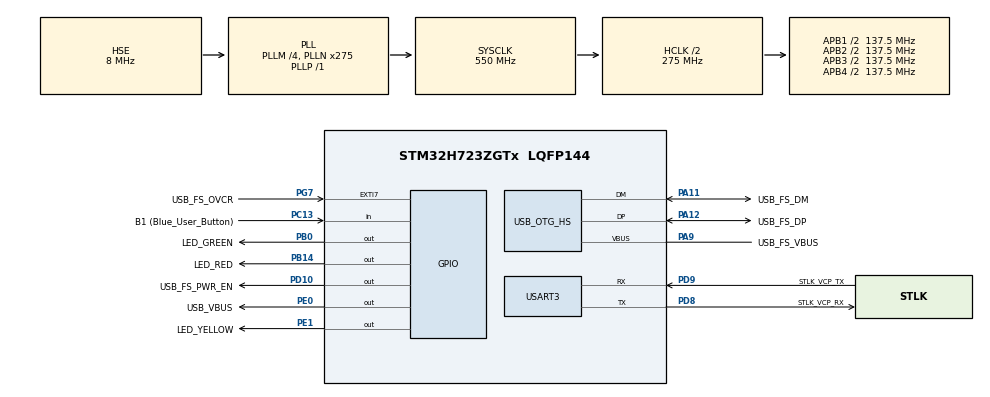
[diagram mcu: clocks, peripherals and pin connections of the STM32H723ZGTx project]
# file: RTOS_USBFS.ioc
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Dma.Request0=USART3_TX
Dma.Request1=USART3_RX
Dma.USART3_RX.1.Direction=DMA_PERIPH_TO_MEMORY
Dma.USART3_RX.1.EventEnable=DISABLE
Dma.USART3_RX.1.FIFOMode=DMA_FIFOMODE_DISABLE
Dma.USART3_RX.1.Instance=DMA1_Stream1
Dma.USART3_RX.1.MemDataAlignment=DMA_MDATAALIGN_BYTE
Dma.USART3_RX.1.MemInc=DMA_MINC_ENABLE
Dma.USART3_RX.1.Mode=DMA_CIRCULAR
Dma.USART3_RX.1.PeriphDataAlignment=DMA_PDATAALIGN_BYTE
Dma.USART3_RX.1.PeriphInc=DMA_PINC_DISABLE
Dma.USART3_RX.1.Polarity=HAL_DMAMUX_REQ_GEN_RISING
Dma.USART3_RX.1.Priority=DMA_PRIORITY_LOW
Dma.USART3_RX.1.RequestNumber=1
Dma.USART3_RX.1.SignalID=NONE
Dma.USART3_RX.1.SyncEnable=DISABLE
Dma.USART3_RX.1.SyncPolarity=HAL_DMAMUX_SYNC_NO_EVENT
Dma.USART3_RX.1.SyncRequestNumber=1
Dma.USART3_RX.1.SyncSignalID=NONE
Dma.USART3_TX.0.Direction=DMA_MEMORY_TO_PERIPH
Dma.USART3_TX.0.EventEnable=DISABLE
Dma.USART3_TX.0.FIFOMode=DMA_FIFOMODE_DISABLE
Dma.USART3_TX.0.Instance=DMA1_Stream0
Dma.USART3_TX.0.MemDataAlignment=DMA_MDATAALIGN_BYTE
Dma.USART3_TX.0.MemInc=DMA_MINC_ENABLE
Dma.USART3_TX.0.Mode=DMA_NORMAL
Dma.USART3_TX.0.PeriphDataAlignment=DMA_PDATAALIGN_BYTE
Dma.USART3_TX.0.PeriphInc=DMA_PINC_DISABLE
Dma.USART3_TX.0.Polarity=HAL_DMAMUX_REQ_GEN_RISING
Dma.USART3_TX.0.Priority=DMA_PRIORITY_LOW
Dma.USART3_TX.0.RequestNumber=1
Dma.USART3_TX.0.SignalID=NONE
Dma.USART3_TX.0.SyncEnable=DISABLE
Dma.USART3_TX.0.SyncPolarity=HAL_DMAMUX_SYNC_NO_EVENT
Dma.USART3_TX.0.SyncRequestNumber=1
Dma.USART3_TX.0.SyncSignalID=NONE
FATFS._FS_EXFAT=1
FATFS._FS_REENTRANT=1
FATFS._FS_RPATH=2
FATFS._MAX_SS=4096
FATFS._USE_LFN=3
FATFS._USE_MUTEX=1
FREERTOS.BinarySemaphores01=BinarySem01,Dynamic,NULL
FREERTOS.INCLUDE_vTaskCleanUpResources=1
FREERTOS.INCLUDE_vTaskDelayUntil=1
FREERTOS.INCLUDE_xTimerPendFunctionCall=1
FREERTOS.Tasks01=defaultTask,0,128,StartDefaultTask,Default,NULL,Dynamic,NULL,NULL;USBFileSystem,0,128,USBFileSystem_Init,Default,NULL,Dynamic,NULL,NULL;CommInterface,0,128,CommInterface_Init,Default,NULL,Dynamic,NULL,NULL
FREERTOS.Timers01=Timer1,Timer1_Callback,osTimerPeriodic,Default,NULL,Dynamic,NULL
FREERTOS.configUSE_NEWLIB_REENTRANT=0
FREERTOS.configUSE_TIMERS=1
Mcu.Family=STM32H7
Mcu.Name=STM32H723ZGTx
Mcu.Package=LQFP144
NVIC.DMA1_Stream0_IRQn=true\:5\:0\:false\:false\:true\:false\:false\:true\:true
NVIC.DMA1_Stream1_IRQn=true\:5\:0\:false\:false\:true\:false\:false\:true\:true
NVIC.OTG_HS_IRQn=true\:5\:0\:false\:false\:true\:false\:false\:true\:true
NVIC.PriorityGroup=NVIC_PRIORITYGROUP_4
NVIC.TIM1_UP_IRQn=true\:15\:0\:false\:false\:true\:false\:false\:true\:true
NVIC.TimeBase=TIM1_UP_IRQn
NVIC.TimeBaseIP=TIM1
NVIC.USART3_IRQn=true\:0\:0\:false\:false\:true\:false\:true\:true\:true
PA1.GPIO_Label=RMII_REF_CLK
PA1.Signal=ETH_REF_CLK
PA10.GPIO_Label=USB_FS_ID
PA10.Signal=USB_OTG_HS_ID
PA11.GPIO_Label=USB_FS_DM
PA11.Mode=Host_FS
PA11.Signal=USB_OTG_HS_DM
PA12.GPIO_Label=USB_FS_DP
PA12.Mode=Host_FS
PA12.Signal=USB_OTG_HS_DP
PA13(JTMS/SWDIO).GPIO_Label=SWDIO
PA13(JTMS/SWDIO).Mode=Trace_Asynchronous_SW
PA13(JTMS/SWDIO).Signal=DEBUG_JTMS-SWDIO
PA14(JTCK/SWCLK).GPIO_Label=SWCLK
PA14(JTCK/SWCLK).Mode=Trace_Asynchronous_SW
PA14(JTCK/SWCLK).Signal=DEBUG_JTCK-SWCLK
PA2.GPIO_Label=RMII_MDIO
PA2.Signal=ETH_MDIO
PA7.GPIO_Label=RMII_CRS_DV
PA7.Signal=ETH_CRS_DV
PA9.GPIO_Label=USB_FS_VBUS
PA9.Mode=Activate_VBUS_FS
PA9.Signal=USB_OTG_HS_VBUS
PB0.GPIO_Label=LED_GREEN
PB0.Signal=GPIO_Output
PB13.GPIO_Label=RMII_TXD1
PB13.Signal=ETH_TXD1
PB14.GPIO_Label=LED_RED
PB14.Signal=GPIO_Output
PB3(JTDO/TRACESWO).GPIO_Label=SWO
PB3(JTDO/TRACESWO).Mode=Trace_Asynchronous_SW
PB3(JTDO/TRACESWO).Signal=DEBUG_JTDO-SWO
PC1.GPIO_Label=RMII_MDC
PC1.Signal=ETH_MDC
PC13.GPIO_Label=B1 (Blue_User_Button)
PC13.Signal=GPIO_Input
PC14-OSC32_IN.Mode=LSE-External-Oscillator
PC14-OSC32_IN.Signal=RCC_OSC32_IN
PC15-OSC32_OUT.Mode=LSE-External-Oscillator
PC15-OSC32_OUT.Signal=RCC_OSC32_OUT
PC4.GPIO_Label=RMII_RXD0
PC4.Signal=ETH_RXD0
PC5.GPIO_Label=RMII_RXD1
PC5.Signal=ETH_RXD1
PD10.GPIO_Label=USB_FS_PWR_EN
PD10.Signal=GPIO_Output
PD8.GPIO_Label=STLK_VCP_RX
PD8.Mode=Asynchronous
PD8.Signal=USART3_TX
PD9.GPIO_Label=STLK_VCP_TX
PD9.Mode=Asynchronous
PD9.Signal=USART3_RX
PE0.GPIO_Label=USB_VBUS
PE0.GPIO_ModeDefaultOutputPP=GPIO_MODE_OUTPUT_PP
PE0.PinState=GPIO_PIN_SET
PE0.Signal=GPIO_Output
PE1.GPIO_Label=LED_YELLOW
PE1.PinState=GPIO_PIN_SET
PE1.Signal=GPIO_Output
PG11.GPIO_Label=RMII_TX_EN
PG11.Signal=ETH_TX_EN
PG13.GPIO_Label=RMII_TXD0
PG13.Signal=ETH_TXD0
PG7.GPIO_Label=USB_FS_OVCR
PG7.Signal=GPXTI7
PH0-OSC_IN.GPIO_Label=MCO
PH0-OSC_IN.Mode=HSE-External-Oscillator
PH0-OSC_IN.Signal=RCC_OSC_IN
PH1-OSC_OUT.Mode=HSE-External-Oscillator
PH1-OSC_OUT.Signal=RCC_OSC_OUT
ProjectManager.HeapSize=0x200
ProjectManager.StackSize=0x400
ProjectManager.TargetToolchain=STM32CubeIDE
RCC.ADCFreq_Value=76000000
RCC.APB1Freq_Value=137500000
RCC.APB2Freq_Value=137500000
RCC.APB3Freq_Value=137500000
RCC.APB4Freq_Value=137500000
RCC.CortexFreq_Value=550000000
RCC.D1PPRE=RCC_APB3_DIV2
RCC.D2PPRE1=RCC_APB1_DIV2
RCC.D2PPRE2=RCC_APB2_DIV2
RCC.D3PPRE=RCC_APB4_DIV2
RCC.DIVM1=4
RCC.DIVM2=1
RCC.DIVN1=275
RCC.DIVN2=19
RCC.DIVP1=1
RCC.DIVQ1=4
RCC.HCLKFreq_Value=275000000
RCC.HPRE=RCC_HCLK_DIV2
RCC.HSE_VALUE=8000000
RCC.PLLFRACN=0
RCC.PLLSourceVirtual=RCC_PLLSOURCE_HSE
RCC.SYSCLKFreq_VALUE=550000000
RCC.SYSCLKSource=RCC_SYSCLKSOURCE_PLLCLK
RCC.USBCLockSelection=RCC_USBCLKSOURCE_HSI48
RCC.USBFreq_Value=48000000
USART3.VirtualMode-Asynchronous=VM_ASYNC
USB_HOST.BSP.number=1
USB_HOST.USBH_HandleTypeDef=hUsbHostHS
USB_HOST.VirtualModeHS=Msc
USB_HOST0.BSP.STBoard=false
USB_HOST0.BSP.api=Unknown
USB_HOST0.BSP.instance=PE0
USB_HOST0.BSP.ip=GPIO
USB_HOST0.BSP.mode=Output
USB_HOST0.BSP.name=Drive_VBUS_HS
USB_HOST0.BSP.solution=PE0
USB_OTG_HS.VirtualMode-Host_FS=Host_FS
VP_FATFS_VS_USB.Mode=USB
VP_FREERTOS_VS_CMSIS_V1.Mode=CMSIS_V1
VP_SYS_VS_tim1.Mode=TIM1
VP_USB_HOST_VS_USB_HOST_MSC_HS.Mode=MSC_HS
board=NUCLEO-H723ZG

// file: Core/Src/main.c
/* USER CODE BEGIN Header */
/**
  ******************************************************************************
  * @file           : main.c
  * @brief          : Main program body
  ******************************************************************************
  * @attention
  *
  * Copyright (c) 2022 STMicroelectronics.
  * All rights reserved.
  *
  * This software is licensed under terms that can be found in the LICENSE file
  * in the root directory of this software component.
  * If no LICENSE file comes with this software, it is provided AS-IS.
  *
  ******************************************************************************
  */
/* USER CODE END Header */
#include "main.h"
#include "cmsis_os.h"
#include "fatfs.h"
#include "usb_host.h"

/* USER CODE BEGIN PD */
#define UART_TX_BUFFER_LENGTH 64
#define UART_RX_BUFFER_LENGTH 64

/* USER CODE END PD */

UART_HandleTypeDef huart3;
DMA_HandleTypeDef hdma_usart3_tx;
DMA_HandleTypeDef hdma_usart3_rx;

osThreadId defaultTaskHandle;
osThreadId USBFileSystemHandle;
osThreadId CommInterfaceHandle;
osTimerId Timer1Handle;
osSemaphoreId BinarySem01Handle;

void SystemClock_Config(void);
static void MX_GPIO_Init(void);
static void MX_USART3_UART_Init(void);
static void MX_DMA_Init(void);
void StartDefaultTask(void const * argument);
void USBFileSystem_Init(void const * argument);
void CommInterface_Init(void const * argument);
void Timer1_Callback(void const * argument);

/* USER CODE BEGIN 0 */

uint8_t UART_TX_BUFFER[UART_TX_BUFFER_LENGTH];
uint8_t UART_RX_BUFFER[UART_RX_BUFFER_LENGTH];

int _write(int file, uint8_t *data, int len)
{

   memcpy(UART_TX_BUFFER, data, len);

   HAL_StatusTypeDef status =
      HAL_UART_Transmit_DMA(&huart3, (uint8_t*)UART_TX_BUFFER, len);

   // return # of bytes written - as best we can tell
   return (status == HAL_OK ? len : 0);
}

/* USER CODE END 0 */

int main(void)
{

  /* MCU Configuration--------------------------------------------------------*/

  /* Reset of all peripherals, Initializes the Flash interface and the Systick. */
  HAL_Init();

  /* Configure the system clock */
  SystemClock_Config();

  /* Initialize all configured peripherals */
  MX_GPIO_Init();
  MX_FATFS_Init();
  MX_DMA_Init();
  MX_USART3_UART_Init();

  /* Create the semaphores(s) */
  /* definition and creation of BinarySem01 */
  osSemaphoreDef(BinarySem01);
  BinarySem01Handle = osSemaphoreCreate(osSemaphore(BinarySem01), 1);

  /* Create the timer(s) */
  /* definition and creation of Timer1 */
  osTimerDef(Timer1, Timer1_Callback);
  Timer1Handle = osTimerCreate(osTimer(Timer1), osTimerPeriodic, NULL);

  /* Create the thread(s) */
  /* definition and creation of defaultTask */
  osThreadDef(defaultTask, StartDefaultTask, osPriorityNormal, 0, 128);
  defaultTaskHandle = osThreadCreate(osThread(defaultTask), NULL);

  /* definition and creation of USBFileSystem */
  osThreadDef(USBFileSystem, USBFileSystem_Init, osPriorityNormal, 0, 128);
  USBFileSystemHandle = osThreadCreate(osThread(USBFileSystem), NULL);

  /* definition and creation of CommInterface */
  osThreadDef(CommInterface, CommInterface_Init, osPriorityNormal, 0, 128);
  CommInterfaceHandle = osThreadCreate(osThread(CommInterface), NULL);

  /* Start scheduler */
  osKernelStart();

  /* We should never get here as control is now taken by the scheduler */
  /* Infinite loop */
  while (1)
  {

  }
}

void SystemClock_Config(void)
{
  RCC_OscInitTypeDef RCC_OscInitStruct = {0};
  RCC_ClkInitTypeDef RCC_ClkInitStruct = {0};

  /** Supply configuration update enable
  */
  HAL_PWREx_ConfigSupply(PWR_LDO_SUPPLY);

  /** Configure the main internal regulator output voltage
  */
  __HAL_PWR_VOLTAGESCALING_CONFIG(PWR_REGULATOR_VOLTAGE_SCALE0);

  while(!__HAL_PWR_GET_FLAG(PWR_FLAG_VOSRDY)) {}

  /** Initializes the RCC Oscillators according to the specified parameters
  * in the RCC_OscInitTypeDef structure.
  */
  RCC_OscInitStruct.OscillatorType = RCC_OSCILLATORTYPE_HSI48|RCC_OSCILLATORTYPE_HSE;
  RCC_OscInitStruct.HSEState = RCC_HSE_ON;
  RCC_OscInitStruct.HSI48State = RCC_HSI48_ON;
  RCC_OscInitStruct.PLL.PLLState = RCC_PLL_ON;
  RCC_OscInitStruct.PLL.PLLSource = RCC_PLLSOURCE_HSE;
  RCC_OscInitStruct.PLL.PLLM = 4;
  RCC_OscInitStruct.PLL.PLLN = 275;
  RCC_OscInitStruct.PLL.PLLP = 1;
  RCC_OscInitStruct.PLL.PLLQ = 4;
  RCC_OscInitStruct.PLL.PLLR = 2;
  RCC_OscInitStruct.PLL.PLLRGE = RCC_PLL1VCIRANGE_1;
  RCC_OscInitStruct.PLL.PLLVCOSEL = RCC_PLL1VCOWIDE;
  RCC_OscInitStruct.PLL.PLLFRACN = 0;
  if (HAL_RCC_OscConfig(&RCC_OscInitStruct) != HAL_OK)
  {
    Error_Handler();
  }

  /** Initializes the CPU, AHB and APB buses clocks
  */
  RCC_ClkInitStruct.ClockType = RCC_CLOCKTYPE_HCLK|RCC_CLOCKTYPE_SYSCLK
                              |RCC_CLOCKTYPE_PCLK1|RCC_CLOCKTYPE_PCLK2
                              |RCC_CLOCKTYPE_D3PCLK1|RCC_CLOCKTYPE_D1PCLK1;
  RCC_ClkInitStruct.SYSCLKSource = RCC_SYSCLKSOURCE_PLLCLK;
  RCC_ClkInitStruct.SYSCLKDivider = RCC_SYSCLK_DIV1;
  RCC_ClkInitStruct.AHBCLKDivider = RCC_HCLK_DIV2;
  RCC_ClkInitStruct.APB3CLKDivider = RCC_APB3_DIV2;
  RCC_ClkInitStruct.APB1CLKDivider = RCC_APB1_DIV2;
  RCC_ClkInitStruct.APB2CLKDivider = RCC_APB2_DIV2;
  RCC_ClkInitStruct.APB4CLKDivider = RCC_APB4_DIV2;

  if (HAL_RCC_ClockConfig(&RCC_ClkInitStruct, FLASH_LATENCY_3) != HAL_OK)
  {
    Error_Handler();
  }
}

static void MX_USART3_UART_Init(void)
{

  huart3.Instance = USART3;
  huart3.Init.BaudRate = 115200;
  huart3.Init.WordLength = UART_WORDLENGTH_8B;
  huart3.Init.StopBits = UART_STOPBITS_1;
  huart3.Init.Parity = UART_PARITY_NONE;
  huart3.Init.Mode = UART_MODE_TX_RX;
  huart3.Init.HwFlowCtl = UART_HWCONTROL_NONE;
  huart3.Init.OverSampling = UART_OVERSAMPLING_16;
  huart3.Init.OneBitSampling = UART_ONE_BIT_SAMPLE_DISABLE;
  huart3.Init.ClockPrescaler = UART_PRESCALER_DIV1;
  huart3.AdvancedInit.AdvFeatureInit = UART_ADVFEATURE_NO_INIT;
  if (HAL_UART_Init(&huart3) != HAL_OK)
  {
    Error_Handler();
  }
  if (HAL_UARTEx_SetTxFifoThreshold(&huart3, UART_TXFIFO_THRESHOLD_1_8) != HAL_OK)
  {
    Error_Handler();
  }
  if (HAL_UARTEx_SetRxFifoThreshold(&huart3, UART_RXFIFO_THRESHOLD_1_8) != HAL_OK)
  {
    Error_Handler();
  }
  if (HAL_UARTEx_DisableFifoMode(&huart3) != HAL_OK)
  {
    Error_Handler();
  }

}

static void MX_DMA_Init(void)
{

  /* DMA controller clock enable */
  __HAL_RCC_DMA1_CLK_ENABLE();

  /* DMA interrupt init */
  /* DMA1_Stream0_IRQn interrupt configuration */
  HAL_NVIC_SetPriority(DMA1_Stream0_IRQn, 5, 0);
  HAL_NVIC_EnableIRQ(DMA1_Stream0_IRQn);
  /* DMA1_Stream1_IRQn interrupt configuration */
  HAL_NVIC_SetPriority(DMA1_Stream1_IRQn, 5, 0);
  HAL_NVIC_EnableIRQ(DMA1_Stream1_IRQn);

}

static void MX_GPIO_Init(void)
{
  GPIO_InitTypeDef GPIO_InitStruct = {0};

  /* GPIO Ports Clock Enable */
  __HAL_RCC_GPIOC_CLK_ENABLE();
  __HAL_RCC_GPIOH_CLK_ENABLE();
  __HAL_RCC_GPIOA_CLK_ENABLE();
  __HAL_RCC_GPIOB_CLK_ENABLE();
  __HAL_RCC_GPIOD_CLK_ENABLE();
  __HAL_RCC_GPIOG_CLK_ENABLE();
  __HAL_RCC_GPIOE_CLK_ENABLE();

  /*Configure GPIO pin Output Level */
  HAL_GPIO_WritePin(GPIOB, LED_GREEN_Pin|LED_RED_Pin, GPIO_PIN_RESET);

  /*Configure GPIO pin Output Level */
  HAL_GPIO_WritePin(USB_FS_PWR_EN_GPIO_Port, USB_FS_PWR_EN_Pin, GPIO_PIN_RESET);

  /*Configure GPIO pin Output Level */
  HAL_GPIO_WritePin(GPIOE, USB_VBUS_Pin|LED_YELLOW_Pin, GPIO_PIN_SET);

  /*Configure GPIO pin : B1_Pin */
  GPIO_InitStruct.Pin = B1_Pin;
  GPIO_InitStruct.Mode = GPIO_MODE_INPUT;
  GPIO_InitStruct.Pull = GPIO_NOPULL;
  HAL_GPIO_Init(B1_GPIO_Port, &GPIO_InitStruct);

  /*Configure GPIO pins : RMII_MDC_Pin RMII_RXD0_Pin RMII_RXD1_Pin */
  GPIO_InitStruct.Pin = RMII_MDC_Pin|RMII_RXD0_Pin|RMII_RXD1_Pin;
  GPIO_InitStruct.Mode = GPIO_MODE_AF_PP;
  GPIO_InitStruct.Pull = GPIO_NOPULL;
  GPIO_InitStruct.Speed = GPIO_SPEED_FREQ_LOW;
  GPIO_InitStruct.Alternate = GPIO_AF11_ETH;
  HAL_GPIO_Init(GPIOC, &GPIO_InitStruct);

  /*Configure GPIO pins : RMII_REF_CLK_Pin RMII_MDIO_Pin RMII_CRS_DV_Pin */
  GPIO_InitStruct.Pin = RMII_REF_CLK_Pin|RMII_MDIO_Pin|RMII_CRS_DV_Pin;
  GPIO_InitStruct.Mode = GPIO_MODE_AF_PP;
  GPIO_InitStruct.Pull = GPIO_NOPULL;
  GPIO_InitStruct.Speed = GPIO_SPEED_FREQ_LOW;
  GPIO_InitStruct.Alternate = GPIO_AF11_ETH;
  HAL_GPIO_Init(GPIOA, &GPIO_InitStruct);

  /*Configure GPIO pins : LED_GREEN_Pin LED_RED_Pin */
  GPIO_InitStruct.Pin = LED_GREEN_Pin|LED_RED_Pin;
  GPIO_InitStruct.Mode = GPIO_MODE_OUTPUT_PP;
  GPIO_InitStruct.Pull = GPIO_NOPULL;
  GPIO_InitStruct.Speed = GPIO_SPEED_FREQ_LOW;
  HAL_GPIO_Init(GPIOB, &GPIO_InitStruct);

  /*Configure GPIO pin : RMII_TXD1_Pin */
  GPIO_InitStruct.Pin = RMII_TXD1_Pin;
  GPIO_InitStruct.Mode = GPIO_MODE_AF_PP;
  GPIO_InitStruct.Pull = GPIO_NOPULL;
  GPIO_InitStruct.Speed = GPIO_SPEED_FREQ_LOW;
  GPIO_InitStruct.Alternate = GPIO_AF11_ETH;
  HAL_GPIO_Init(RMII_TXD1_GPIO_Port, &GPIO_InitStruct);

  /*Configure GPIO pin : USB_FS_PWR_EN_Pin */
  GPIO_InitStruct.Pin = USB_FS_PWR_EN_Pin;
  GPIO_InitStruct.Mode = GPIO_MODE_OUTPUT_PP;
  GPIO_InitStruct.Pull = GPIO_NOPULL;
  GPIO_InitStruct.Speed = GPIO_SPEED_FREQ_LOW;
  HAL_GPIO_Init(USB_FS_PWR_EN_GPIO_Port, &GPIO_InitStruct);

  /*Configure GPIO pin : USB_FS_OVCR_Pin */
  GPIO_InitStruct.Pin = USB_FS_OVCR_Pin;
  GPIO_InitStruct.Mode = GPIO_MODE_IT_RISING;
  GPIO_InitStruct.Pull = GPIO_NOPULL;
  HAL_GPIO_Init(USB_FS_OVCR_GPIO_Port, &GPIO_InitStruct);

  /*Configure GPIO pins : RMII_TX_EN_Pin RMII_TXD0_Pin */
  GPIO_InitStruct.Pin = RMII_TX_EN_Pin|RMII_TXD0_Pin;
  GPIO_InitStruct.Mode = GPIO_MODE_AF_PP;
  GPIO_InitStruct.Pull = GPIO_NOPULL;
  GPIO_InitStruct.Speed = GPIO_SPEED_FREQ_LOW;
  GPIO_InitStruct.Alternate = GPIO_AF11_ETH;
  HAL_GPIO_Init(GPIOG, &GPIO_InitStruct);

  /*Configure GPIO pins : USB_VBUS_Pin LED_YELLOW_Pin */
  GPIO_InitStruct.Pin = USB_VBUS_Pin|LED_YELLOW_Pin;
  GPIO_InitStruct.Mode = GPIO_MODE_OUTPUT_PP;
  GPIO_InitStruct.Pull = GPIO_NOPULL;
  GPIO_InitStruct.Speed = GPIO_SPEED_FREQ_LOW;
  HAL_GPIO_Init(GPIOE, &GPIO_InitStruct);

}

/* USER CODE BEGIN 4 */
uint8_t txDoneFlag = 0;

static size_t old_RX_buffer_position = 0;
static size_t current_RX_buffer_position = 0;

char received_command[UART_RX_BUFFER_LENGTH];

void HAL_UART_TxCpltCallback(UART_HandleTypeDef *huart)
{
	HAL_GPIO_TogglePin(GPIOB,LED_GREEN_Pin);
}

//ToDo: Fix This function to implement circular buffer.
void HAL_UARTEx_RxEventCallback(UART_HandleTypeDef *huart, uint16_t Size){
	HAL_GPIO_TogglePin(GPIOB,LED_GREEN_Pin);

	current_RX_buffer_position = (Size)%UART_RX_BUFFER_LENGTH;

	if(current_RX_buffer_position > old_RX_buffer_position){
	  memcpy(received_command, UART_RX_BUFFER+old_RX_buffer_position, current_RX_buffer_position - old_RX_buffer_position -1);
	}else{
	  memcpy(received_command, UART_RX_BUFFER+old_RX_buffer_position, UART_RX_BUFFER_LENGTH-old_RX_buffer_position);

	  memcpy(received_command+UART_RX_BUFFER_LENGTH-old_RX_buffer_position, UART_RX_BUFFER, Size-1);
	}

      /* Calculate current position in buffer and check for new data available */
                    /*
               * Processing is done in "linear" mode.
               *
               * Application processing is fast with single data block,
               * length is simply calculated by subtracting pointers
               *
               * [   0   ]
               * [   1   ] <- old_pos |------------------------------------|
               * [   2   ]            |                                    |
               * [   3   ]            | Single block (len = pos - old_pos) |
               * [   4   ]            |                                    |
               * [   5   ]            |------------------------------------|
               * [   6   ] <- pos
               * [   7   ]
               * [ N - 1 ]
               */

              /*
               * Processing is done in "overflow" mode..
               *
               * Application must process data twice,
               * since there are 2 linear memory blocks to handle
               *
               * [   0   ]            |---------------------------------|
               * [   1   ]            | Second block (len = pos)        |
               * [   2   ]            |---------------------------------|
               * [   3   ] <- pos
               * [   4   ] <- old_pos |---------------------------------|
               * [   5   ]            |                                 |
               * [   6   ]            | First block (len = N - old_pos) |
               * [   7   ]            |                                 |
               * [ N - 1 ]            |---------------------------------|
               */

	printf("received cmd: %s \r\n", received_command);

	old_RX_buffer_position = current_RX_buffer_position;

	HAL_UARTEx_ReceiveToIdle_DMA(&huart3, UART_RX_BUFFER, UART_RX_BUFFER_LENGTH);
	__HAL_DMA_DISABLE_IT(&hdma_usart3_rx, DMA_IT_HT);
	__HAL_DMA_DISABLE_IT(&hdma_usart3_rx, DMA_IT_TC);

}

/* USER CODE END 4 */

void StartDefaultTask(void const * argument)
{
  /* init code for USB_HOST */
  MX_USB_HOST_Init();
  /* USER CODE BEGIN 5 */
  HAL_UARTEx_ReceiveToIdle_DMA(&huart3, UART_RX_BUFFER, UART_RX_BUFFER_LENGTH);
  __HAL_DMA_DISABLE_IT(&hdma_usart3_rx, DMA_IT_HT);
  __HAL_DMA_DISABLE_IT(&hdma_usart3_rx, DMA_IT_TC);

  int count = 0;
  /* Infinite loop */
  for(;;)
  {
    //printf("A\r\n");

    //printf("Hello World! %d\r\n", count++);
    osDelay(2000);
  }
  /* USER CODE END 5 */
}

void USBFileSystem_Init(void const * argument)
{
  for(;;)
  {
    osDelay(1);
  }
}

void CommInterface_Init(void const * argument)
{
  for(;;)
  {
    osDelay(1);
  }
}

/* Timer1_Callback function */
void Timer1_Callback(void const * argument)
{
}

void HAL_TIM_PeriodElapsedCallback(TIM_HandleTypeDef *htim)
{
  if (htim->Instance == TIM1) {
    HAL_IncTick();
  }
}

void Error_Handler(void)
{
  __disable_irq();
  while (1)
  {
  }
}
